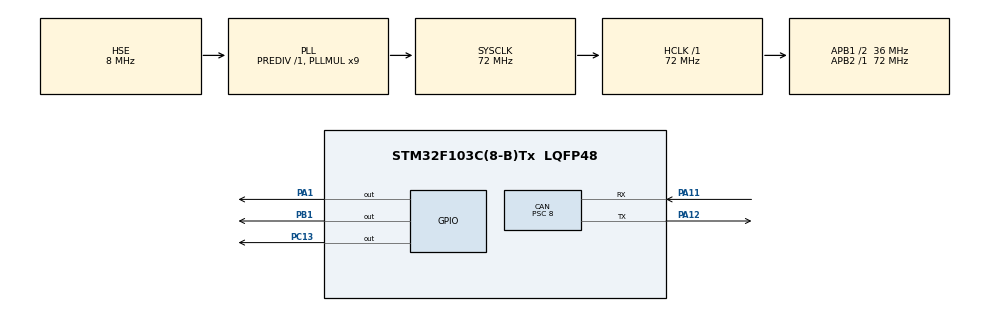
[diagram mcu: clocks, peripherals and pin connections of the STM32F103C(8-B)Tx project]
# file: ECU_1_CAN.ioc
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CAN.BS1=CAN_BS1_15TQ
CAN.BS2=CAN_BS2_2TQ
CAN.CalculateBaudRate=250000
CAN.CalculateTimeBit=4000
CAN.CalculateTimeQuantum=222.22222222222223
CAN.Mode=CAN_MODE_NORMAL
CAN.Prescaler=8
Mcu.Family=STM32F1
Mcu.Name=STM32F103C(8-B)Tx
Mcu.Package=LQFP48
NVIC.CAN1_RX1_IRQn=true\:0\:0\:false\:false\:true\:true\:true\:true
NVIC.CAN1_SCE_IRQn=true\:0\:0\:false\:false\:true\:true\:true\:true
NVIC.PriorityGroup=NVIC_PRIORITYGROUP_4
NVIC.USB_HP_CAN1_TX_IRQn=true\:0\:0\:false\:false\:true\:true\:true\:true
NVIC.USB_LP_CAN1_RX0_IRQn=true\:0\:0\:false\:false\:true\:true\:true\:true
PA1.Signal=GPIO_Output
PA11.Mode=CAN_Activate
PA11.Signal=CAN_RX
PA12.Mode=CAN_Activate
PA12.Signal=CAN_TX
PA13.Mode=Serial_Wire
PA13.Signal=SYS_JTMS-SWDIO
PA14.Mode=Serial_Wire
PA14.Signal=SYS_JTCK-SWCLK
PB1.Signal=GPIO_Output
PC13-TAMPER-RTC.Signal=GPIO_Output
PD0-OSC_IN.Mode=HSE-External-Oscillator
PD0-OSC_IN.Signal=RCC_OSC_IN
PD1-OSC_OUT.Mode=HSE-External-Oscillator
PD1-OSC_OUT.Signal=RCC_OSC_OUT
ProjectManager.HeapSize=0x200
ProjectManager.StackSize=0x400
ProjectManager.TargetToolchain=STM32CubeIDE
RCC.AHBFreq_Value=72000000
RCC.APB1CLKDivider=RCC_HCLK_DIV2
RCC.APB1Freq_Value=36000000
RCC.APB1TimFreq_Value=72000000
RCC.APB2Freq_Value=72000000
RCC.APB2TimFreq_Value=72000000
RCC.HCLKFreq_Value=72000000
RCC.PLLMUL=RCC_PLL_MUL9
RCC.PLLSourceVirtual=RCC_PLLSOURCE_HSE
RCC.SYSCLKFreq_VALUE=72000000
RCC.SYSCLKSource=RCC_SYSCLKSOURCE_PLLCLK
RCC.USBFreq_Value=72000000
board=custom

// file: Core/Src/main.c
/* USER CODE BEGIN Header */
/**
 ******************************************************************************
 * @file           : main.c
 * @brief          : Main program body
 ******************************************************************************
 * @attention
 *
 * Copyright (c) 2023 STMicroelectronics.
 * All rights reserved.
 *
 * This software is licensed under terms that can be found in the LICENSE file
 * in the root directory of this software component.
 * If no LICENSE file comes with this software, it is provided AS-IS.
 *
 ******************************************************************************
 */
/* USER CODE END Header */
#include "main.h"

/* USER CODE BEGIN PM */

#define Polling_Enable    1
#define Polling_Disable   0

unsigned char data_Tx[100]={1,0,0,0,0,0,0,0};
unsigned char *data_frame_Tx= data_Tx;

unsigned char data_Rx[100];
unsigned char *data_frame_Rx= data_Rx;
int x=5;
//unsigned char *data_frame = "abcdefghjklmnopq";
//static int Frames_counter;

uint32_t Rx_Id=0;
uint8_t Rx_dlc;

//Flags
int CAN_FINISHED = 0 ;
int Process_OnData_Finished=1;
/* USER CODE END PM */

CAN_HandleTypeDef hcan;

/* USER CODE BEGIN PV */

/* USER CODE END PTD */

/* Private define ------------------------------------------------------------*/
/* USER CODE BEGIN PD */

/* USER CODE END PD */

/* Private macro -------------------------------------------------------------*/
/* USER CODE BEGIN PM */

/* USER CODE END PM */

/* Private variables ---------------------------------------------------------*/
//CAN_HandleTypeDef hcan;

/* USER CODE BEGIN PV */

/* USER CODE END PV */

void SystemClock_Config(void);
static void MX_GPIO_Init(void);
static void MX_CAN_Init(void);

/* USER CODE BEGIN 0 */
//std_ID
//data frame
void CAN_Tx(uint32_t STD_ID, uint8_t DLC, uint8_t* payload,uint8_t POLLING_Enable )
{
	uint8_t No_Free_MailBoxes = 0 ;
	uint32_t pTxMailbox=0;
	CAN_TxHeaderTypeDef pHeader ;
	pHeader.DLC = DLC;
	pHeader.StdId = STD_ID;
	pHeader.IDE = CAN_ID_STD;
	pHeader.RTR = CAN_RTR_DATA;
	/*(++) Monitor the Tx mailboxes availability until at least one Tx
	                 mailbox is free, using HAL_CAN_GetTxMailboxesFreeLevel().*/
	No_Free_MailBoxes = HAL_CAN_GetTxMailboxesFreeLevel(&hcan);
	if(No_Free_MailBoxes)
	{
		//	 (++) Then request transmission of a message using
		//                 HAL_CAN_AddTxMessage().
		if (HAL_CAN_AddTxMessage(&hcan, &pHeader,payload,&pTxMailbox) != HAL_OK)
		{
			Error_Handler();
		};
		//wait untill mail box is transmitted
		//		(++) HAL_CAN_IsTxMessagePending() to check if a message is pending
		//		                 in a Tx mailbox.
		if(POLLING_Enable){
			while(HAL_CAN_IsTxMessagePending(&hcan,pTxMailbox));
		}

	}
}

void CAN_Filter(uint16_t std_filterID, uint16_t std_filterMASK)
{
	CAN_FilterTypeDef sFilterConfig;
	sFilterConfig.FilterMaskIdHigh= std_filterMASK<<5;
	sFilterConfig.FilterMaskIdLow=0x0000;
	sFilterConfig.FilterIdHigh=std_filterID<<5;
	sFilterConfig.FilterIdLow= 0x0000;
	sFilterConfig.FilterActivation=CAN_FILTER_ENABLE;
	sFilterConfig.FilterBank=0;
	sFilterConfig.FilterMode =CAN_FILTERMODE_IDMASK;
	sFilterConfig.FilterFIFOAssignment =CAN_FILTER_FIFO0;
	sFilterConfig.FilterScale = CAN_FILTERSCALE_32BIT;
	sFilterConfig.SlaveStartFilterBank =0;
	//	Configure the reception filters using the following configuration
	//	          functions:
	//	            (++) HAL_CAN_ConfigFilter()
	if (HAL_CAN_ConfigFilter(&hcan,&sFilterConfig) != HAL_OK)
	{
		Error_Handler();
	}

}

void CAN_Rx(uint32_t* STD_ID, uint8_t* DLC, uint8_t* payload,uint8_t POLLING_Enable )
{
	CAN_RxHeaderTypeDef pHeade;
	//	(#) Reception:
	//	   (++) Monitor reception of message using HAL_CAN_GetRxFifoFillLevel()
	//	             until at least one message is received.
	//	      (++) Then get the message using HAL_CAN_GetRxMessage().

	//wait unitll message recieved
	if(POLLING_Enable){
		while(HAL_CAN_GetRxFifoFillLevel(&hcan, CAN_RX_FIFO0) == 0);
	}

	if(HAL_CAN_GetRxMessage(&hcan,CAN_RX_FIFO0,&pHeade,payload)!=HAL_OK){
		Error_Handler();
	}
	*STD_ID = pHeade.StdId;
	*DLC =pHeade.DLC;

	if(pHeade.DLC == 3)
	{
		x=8;
	}

}

//IRQ call backs

void HAL_CAN_TxMailbox0CompleteCallback(CAN_HandleTypeDef *hcan)
{
	//data_frame += 8;
	//HAL_CAN_Stop(hcan);
	//	Frames_counter++;
	//
	//	if (Frames_counter == 40 )
	//	{
	//		CAN_FINISHED = 1;
	//		Frames_counter = 0;
	//		HAL_CAN_Stop(hcan);
	//	}else
	//	{
	//		data_frame += 8;
	//	}
	//Error_Handler();
}

void HAL_CAN_RxFifo0FullCallback(CAN_HandleTypeDef *hcan)
{

	//HAL_GPIO_WritePin(GPIOC, GPIO_PIN_13, 0);
	//	Frames_counter++;
	//
	//		if (Frames_counter == 344 )
	//		{
	//			CAN_FINISHED = 1;
	//			Frames_counter = 0;
	//			HAL_CAN_Stop(hcan);
	//		}else
	//		{
	//			data_frame+=8;
	//		}

}

void HAL_CAN_RxFifo0MsgPendingCallback(CAN_HandleTypeDef *hcan){
	//CAN_Rx(&Rx_Id,&Rx_dlc,data_Rx,Polling_Disable);

}

void HAL_CAN_ErrorCallback(CAN_HandleTypeDef *hcan)
{
	Error_Handler();
}
/* USER CODE END PV */

/* USER CODE BEGIN PV */

/* USER CODE END PV */

/* Private function prototypes -----------------------------------------------*/
void SystemClock_Config(void);
static void MX_GPIO_Init(void);
static void MX_CAN_Init(void);
/* USER CODE BEGIN PFP */

/* USER CODE END PFP */

/* Private user code ---------------------------------------------------------*/
/* USER CODE BEGIN 0 */
//std_ID
//data frame

/* USER CODE END PV */

/* Private function prototypes -----------------------------------------------*/
void SystemClock_Config(void);
static void MX_GPIO_Init(void);
static void MX_CAN_Init(void);
/* USER CODE BEGIN PFP */

/* USER CODE END PFP */

/* Private user code ---------------------------------------------------------*/
/* USER CODE BEGIN 0 */

/* USER CODE END 0 */

int main(void)
{

	/* MCU Configuration--------------------------------------------------------*/

	/* Reset of all peripherals, Initializes the Flash interface and the Systick. */
	HAL_Init();

	/* Configure the system clock */
	SystemClock_Config();

	/* Initialize all configured peripherals */
	MX_GPIO_Init();
	MX_CAN_Init();
	/* USER CODE BEGIN 2 */

	//configure The filter for Receiver
	CAN_Filter(0X3FF, 0x000);

	//interrupt notification, Activate Rx interrupt
	if(HAL_CAN_ActivateNotification(&hcan,  CAN_IT_RX_FIFO0_MSG_PENDING  ) != HAL_OK)
	{
		Error_Handler();
	};

	//start CAN
	if(HAL_CAN_Start(&hcan) != HAL_OK)
	{Error_Handler();}

	/* USER CODE END 2 */

	/* Infinite loop */
	/* USER CODE BEGIN WHILE */

	/* USER CODE END 2 */

	/* Infinite loop */
	/* USER CODE BEGIN WHILE */
	while (1)
	{

		//CAN_Tx(0X3, 8, data_Tx,Polling_Enable);
		CAN_Rx(&Rx_Id,&Rx_dlc,data_Rx,Polling_Enable);
		//		if(data_Rx[0]==1)
		//			{
		//				x=20;
		//			}else if(data_Rx[0] == 2)
		//			{
		//				x=30;
		//
		//			}else if(data_Rx[0] == 3)
		//			{
		//				x=40;
		//			}
		//		if(data_Rx[0] ==1){
		//			x=1;
		//		}else if(data_Rx[0] ==0)
		//		{
		//			x=0;
		//		}
		//		data_frame_Tx +=8;
		//CAN_Rx(&Rx_Id,&Rx_dlc,data_frame_Rx,Polling_Enable);
		//		HAL_GPIO_TogglePin(GPIOA, GPIO_PIN_1);
		//		CAN_Rx(&Rx_Id,&Rx_dlc,data_frame_Rx,Polling_Enable);
		//		if(data_Rx[0] == 90 ){
		//			HAL_GPIO_WritePin(GPIOA, GPIO_PIN_1, GPIO_PIN_SET);
		//		}
		//data_frame_Rx++;
		//data_frame_Rx = data_frame_Rx + 8;
		//HAL_GPIO_TogglePin(GPIOC, GPIO_PIN_13);

		//		CAN_Tx(0X222, 8, data_frame_Tx,Polling_Enable);
		//		data_frame_Tx +=8;

		//		if(Process_OnData_Finished == 1) //this flag set by the algorithm of Parsing
		//		{
		//			//	if(HAL_CAN_Start(&hcan) != HAL_OK)
		//			//	{Error_Handler();}
		//			CAN_FINISHED = 0 ;
		//			CAN_Rx(&Rx_Id,&Rx_dlc,data_frame,Polling_Disable);
		//		}else if(Process_OnData_Finished == 0)
		//		{
		//			//HAL_CAN_Stop(&hcan);  or just do nothing
		//		}

		//CAN_Tx(0X3AB, 8, data_frame,Polling_Disable);
		/* USER CODE END WHILE */

	}
}

void SystemClock_Config(void)
{
	RCC_OscInitTypeDef RCC_OscInitStruct = {0};
	RCC_ClkInitTypeDef RCC_ClkInitStruct = {0};

	/** Initializes the RCC Oscillators according to the specified parameters
	 * in the RCC_OscInitTypeDef structure.
	 */
	RCC_OscInitStruct.OscillatorType = RCC_OSCILLATORTYPE_HSE;
	RCC_OscInitStruct.HSEState = RCC_HSE_ON;
	RCC_OscInitStruct.HSEPredivValue = RCC_HSE_PREDIV_DIV1;
	RCC_OscInitStruct.HSIState = RCC_HSI_ON;
	RCC_OscInitStruct.PLL.PLLState = RCC_PLL_ON;
	RCC_OscInitStruct.PLL.PLLSource = RCC_PLLSOURCE_HSE;
	RCC_OscInitStruct.PLL.PLLMUL = RCC_PLL_MUL9;
	if (HAL_RCC_OscConfig(&RCC_OscInitStruct) != HAL_OK)
	{
		Error_Handler();
	}

	/** Initializes the CPU, AHB and APB buses clocks
	 */
	RCC_ClkInitStruct.ClockType = RCC_CLOCKTYPE_HCLK|RCC_CLOCKTYPE_SYSCLK
			|RCC_CLOCKTYPE_PCLK1|RCC_CLOCKTYPE_PCLK2;
	RCC_ClkInitStruct.SYSCLKSource = RCC_SYSCLKSOURCE_PLLCLK;
	RCC_ClkInitStruct.AHBCLKDivider = RCC_SYSCLK_DIV1;
	RCC_ClkInitStruct.APB1CLKDivider = RCC_HCLK_DIV2;
	RCC_ClkInitStruct.APB2CLKDivider = RCC_HCLK_DIV1;

	if (HAL_RCC_ClockConfig(&RCC_ClkInitStruct, FLASH_LATENCY_2) != HAL_OK)
	{
		Error_Handler();
	}
}

static void MX_CAN_Init(void)
{

	hcan.Instance = CAN1;
	hcan.Init.Prescaler = 8;
	hcan.Init.Mode = CAN_MODE_NORMAL;
	hcan.Init.SyncJumpWidth = CAN_SJW_1TQ;
	hcan.Init.TimeSeg1 = CAN_BS1_15TQ;
	hcan.Init.TimeSeg2 = CAN_BS2_2TQ;
	hcan.Init.TimeTriggeredMode = DISABLE;
	hcan.Init.AutoBusOff = DISABLE;
	hcan.Init.AutoWakeUp = DISABLE;
	hcan.Init.AutoRetransmission = DISABLE;
	hcan.Init.ReceiveFifoLocked = DISABLE;
	hcan.Init.TransmitFifoPriority = DISABLE;
	if (HAL_CAN_Init(&hcan) != HAL_OK)
	{
		Error_Handler();
	}

}

static void MX_GPIO_Init(void)
{
	GPIO_InitTypeDef GPIO_InitStruct = {0};

	/* GPIO Ports Clock Enable */
	__HAL_RCC_GPIOC_CLK_ENABLE();
	__HAL_RCC_GPIOD_CLK_ENABLE();
	__HAL_RCC_GPIOA_CLK_ENABLE();
	__HAL_RCC_GPIOB_CLK_ENABLE();

	/*Configure GPIO pin Output Level */
	HAL_GPIO_WritePin(GPIOC, GPIO_PIN_13, GPIO_PIN_RESET);

	/*Configure GPIO pin Output Level */
	HAL_GPIO_WritePin(GPIOA, GPIO_PIN_1, GPIO_PIN_RESET);

	/*Configure GPIO pin Output Level */
	HAL_GPIO_WritePin(GPIOB, GPIO_PIN_1, GPIO_PIN_RESET);

	/*Configure GPIO pin : PC13 */
	GPIO_InitStruct.Pin = GPIO_PIN_13;
	GPIO_InitStruct.Mode = GPIO_MODE_OUTPUT_PP;
	GPIO_InitStruct.Pull = GPIO_NOPULL;
	GPIO_InitStruct.Speed = GPIO_SPEED_FREQ_LOW;
	HAL_GPIO_Init(GPIOC, &GPIO_InitStruct);

	/*Configure GPIO pin : PA1 */
	GPIO_InitStruct.Pin = GPIO_PIN_1;
	GPIO_InitStruct.Mode = GPIO_MODE_OUTPUT_PP;
	GPIO_InitStruct.Pull = GPIO_NOPULL;
	GPIO_InitStruct.Speed = GPIO_SPEED_FREQ_LOW;
	HAL_GPIO_Init(GPIOA, &GPIO_InitStruct);

	/*Configure GPIO pin : PB1 */
	GPIO_InitStruct.Pin = GPIO_PIN_1;
	GPIO_InitStruct.Mode = GPIO_MODE_OUTPUT_PP;
	GPIO_InitStruct.Pull = GPIO_NOPULL;
	GPIO_InitStruct.Speed = GPIO_SPEED_FREQ_LOW;
	HAL_GPIO_Init(GPIOB, &GPIO_InitStruct);

}

void Error_Handler(void)
{
	__disable_irq();
	while (1)
	{
	}
}
